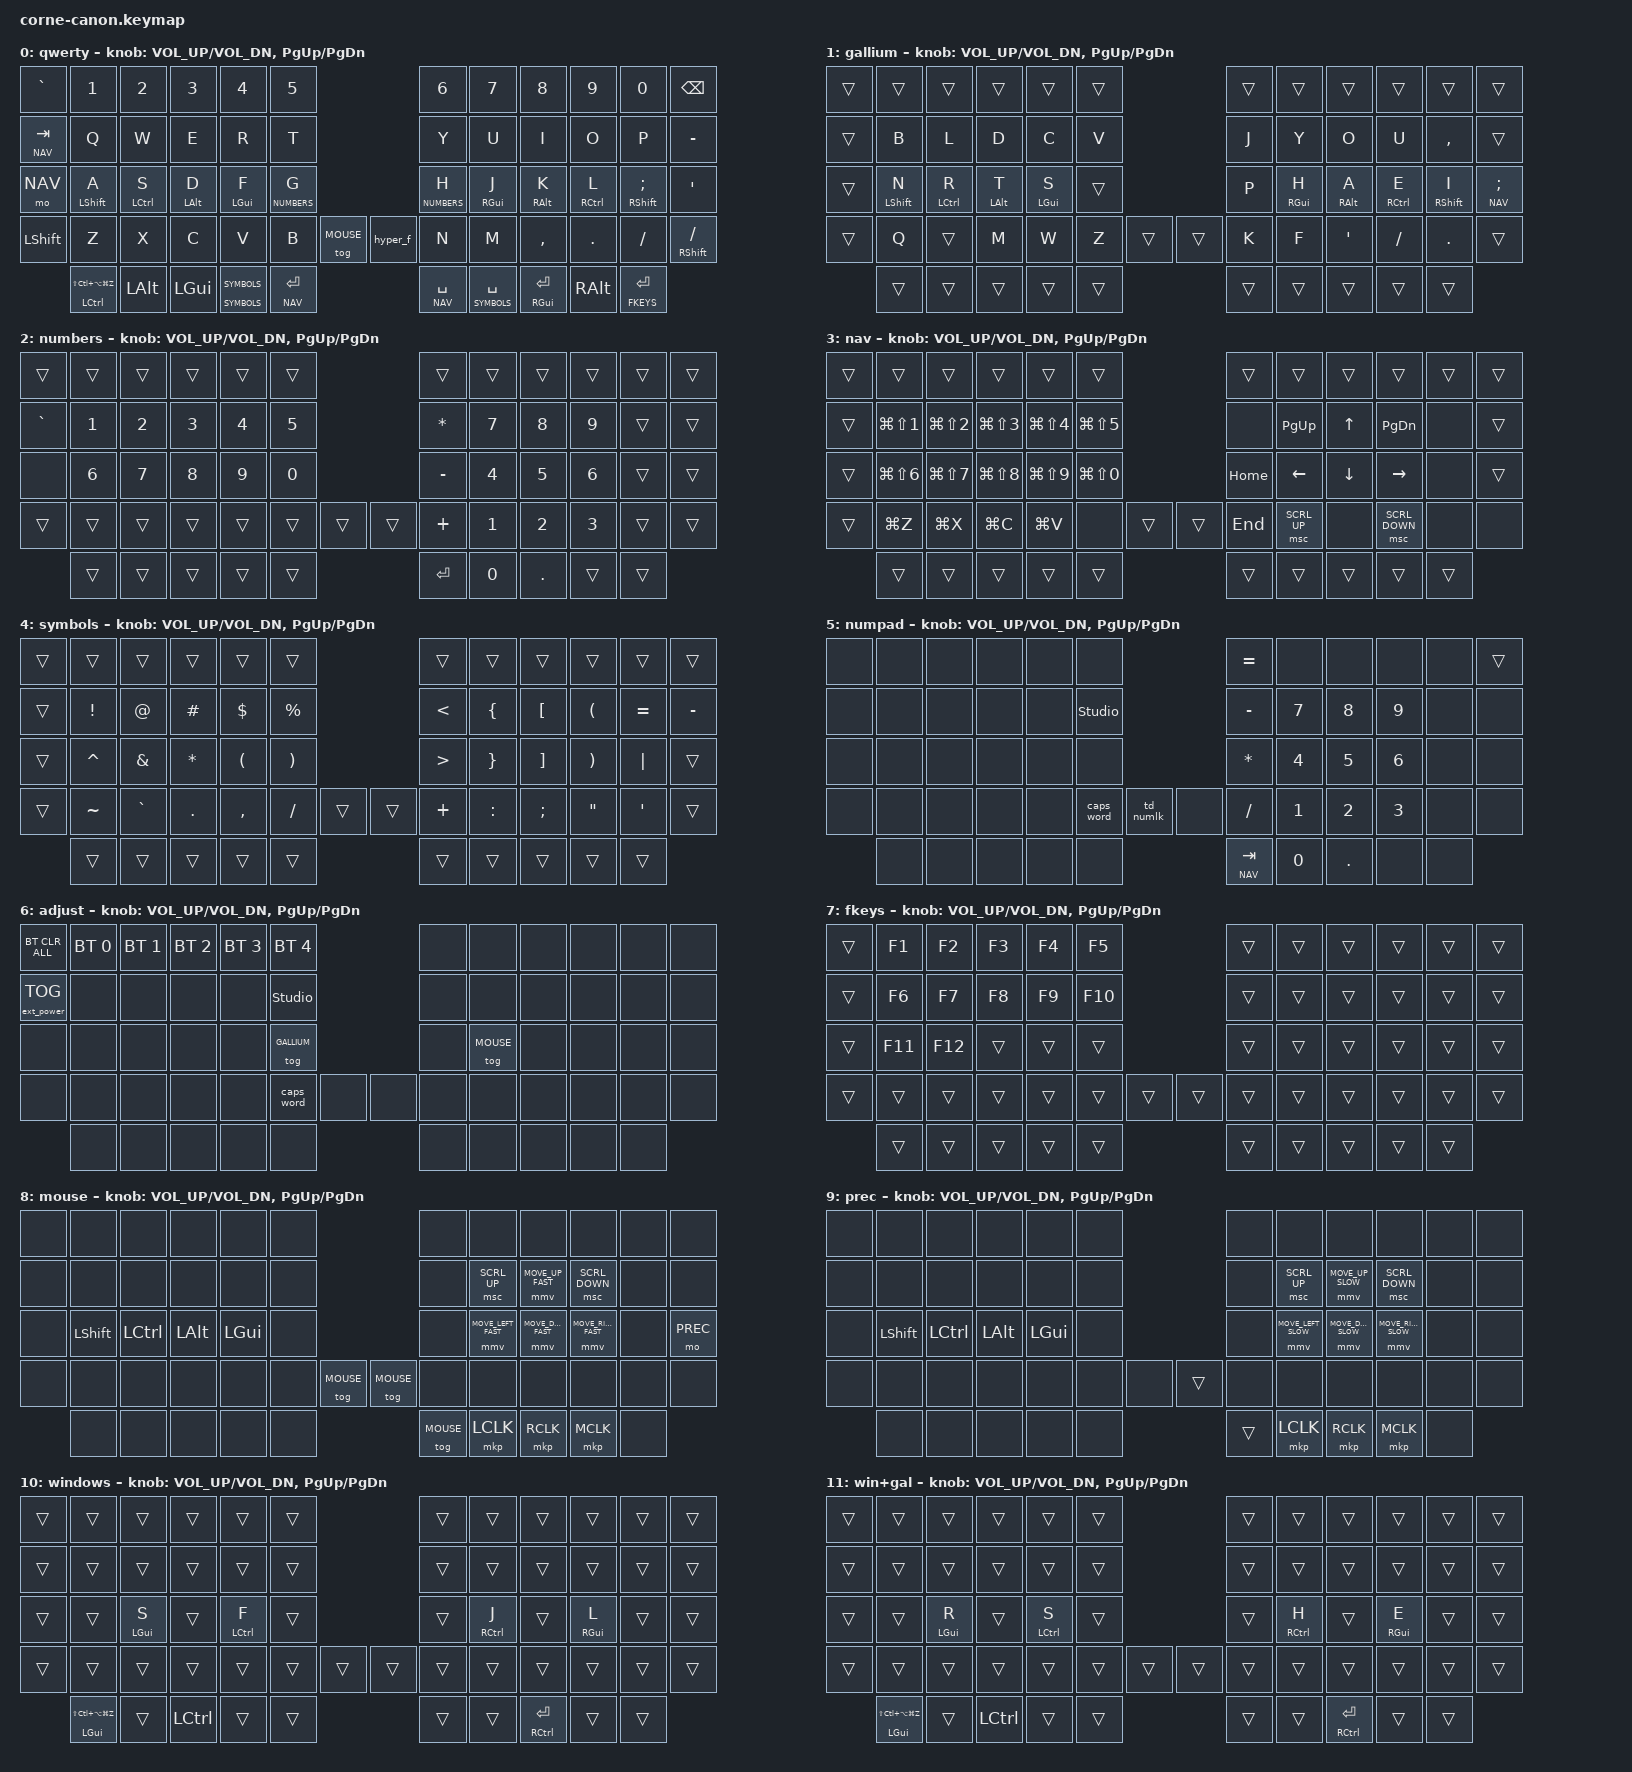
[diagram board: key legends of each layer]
/*
 * Corne-Canon Profile — SOFLE 60-key
 *
 * CORNE (42-key) canonical layout adapted to SOFLE (60-key).
 * Core 42 keys are identical; 18 extra keys (number row, outer thumbs,
 * encoders) are filled intelligently.
 *
 * Layers:
 *   0 = QWERTY base (CORNE layer 0 + extras)
 *   1 = Gallium v1 toggle overlay (CORNE layer 1)
 *   2 = Numbers (CORNE layer 2 — kept for muscle memory despite number row)
 *   3 = Nav (CORNE layer 3 — screenshots, arrows, undo/cut/copy/paste)
 *   4 = Symbols (CORNE layer 4 — full symbols)
 *   5 = Numpad (CORNE layer 5 — right-side numpad)
 *   6 = Adjust (NEW — BT, ext power, layout toggles; conditional NAV+SYMBOLS)
 *   7 = Fkeys (F1-F12)
 *   8 = Mouse (mouse movement on right OHAE cluster)
 *   9 = Prec (precision mouse — 1/4 speed)
 *
 * Position mapping (CORNE → SOFLE):
 *   CORNE Row 0 (0-11)  → SOFLE Row 1 (12-23)
 *   CORNE Row 1 (12-23) → SOFLE Row 2 (24-35)
 *   CORNE Row 2 (24-35) → SOFLE Row 3 (36-41, 44-49) [42,43 = encoders]
 *   CORNE Thumbs (36-41) → SOFLE inner thumbs (52-54, 55-57)
 *   NEW: SOFLE Row 0 (0-11), outer thumbs (50-51, 58-59)
 */

#include <behaviors.dtsi>
#include <dt-bindings/zmk/bt.h>
#include <dt-bindings/zmk/ext_power.h>
#include <dt-bindings/zmk/keys.h>
#define ZMK_POINTING_DEFAULT_SCRL_VAL 25
#include <dt-bindings/zmk/pointing.h>
#include "corne-canon-chords.dtsi"

#define QWERTY  0
#define GALLIUM 1
#define NUMBERS 2
#define NAV     3
#define SYMBOLS 4
#define NUMPAD  5
#define ADJUST  6
#define FKEYS   7
#define MOUSE   8
#define PREC    9
#define WINMODE         10
#define WINMODE_GALLIUM 11

// Fast mouse movement (2x default 600 speed)
#define MOVE_UP_FAST    ((-9000) & 0xFFFF)
#define MOVE_DOWN_FAST  ((9000) & 0xFFFF)
#define MOVE_LEFT_FAST  (((-9000) & 0xFFFF) << 16)
#define MOVE_RIGHT_FAST (((9000) & 0xFFFF) << 16)

// Precision mouse movement (1/4 of default 600 speed)
#define MOVE_UP_SLOW    ((-200) & 0xFFFF)
#define MOVE_DOWN_SLOW  ((200) & 0xFFFF)
#define MOVE_LEFT_SLOW  (((-200) & 0xFFFF) << 16)
#define MOVE_RIGHT_SLOW (((200) & 0xFFFF) << 16)

/ {
    // Activate ADJUST layer by pressing NAV and SYMBOLS together
    conditional_layers {
        compatible = "zmk,conditional-layers";

        adjust_layer {
            if-layers = <NAV SYMBOLS>;
            then-layer = <ADJUST>;
        };

        // When both Gallium and Windows mode are active, use Gallium letters with Win modifiers
        winmode_gallium_layer {
            if-layers = <GALLIUM WINMODE>;
            then-layer = <WINMODE_GALLIUM>;
        };
    };

    combos {
        compatible = "zmk,combos";

        // ── Utility combos (always active) ──────────────────────────
        backspace {
            bindings = <&kp BACKSPACE>;
            key-positions = <32 31>;
        };

        delete {
            bindings = <&kp DELETE>;
            key-positions = <27 33>;
        };

        esc {
            bindings = <&kp ESCAPE>;
            key-positions = <25 41>;
        };

        esc2 {
            bindings = <&kp ESCAPE>;
            key-positions = <0 12>;
        };

        fwd_delete {
            bindings = <&kp DELETE>;
            key-positions = <28 27>;
        };

        shift_caps {
            bindings = <&td_caps>;
            key-positions = <36 49>;
        };

        esc3 {
            bindings = <&kp ESCAPE>;
            key-positions = <0 1>;
        };

        thumb_fatfinger {
            bindings = <&kp SPACE>;
            key-positions = <54 55>;
        };

        thumb_fatfinger_left {
            bindings = <&kp SPACE>;
            key-positions = <52 53>;
        };

        thumb_fatfinger_right {
            bindings = <&kp SPACE>;
            key-positions = <56 57>;
        };

        mouse_toggle {
            bindings = <&tog MOUSE>;
            key-positions = <5 17>;
        };

        // Layout toggle: bottom-right corner keys (,./Sft)
        layout_toggle {
            bindings = <&tog GALLIUM>;
            key-positions = <46 47 48 49>;
        };

        // Numbers toggle: G+H positions
        numbers_toggle {
            bindings = <&tog NUMBERS>;
            key-positions = <29 30>;
        };

        // Windows/Mac modifier swap: far-left 4 keys (Sft+Z+X+C)
        winmode_toggle {
            bindings = <&tog WINMODE>;
            key-positions = <36 37 38 39>;
        };
    };

    macros {
        hyper: hyper {
            compatible = "zmk,behavior-macro";
            #binding-cells = <0>;
            bindings
                = <&macro_press &kp LSHFT &kp LCTRL &kp LALT &kp LGUI>
                , <&macro_pause_for_release>
                , <&macro_release &kp LSHFT &kp LCTRL &kp LALT &kp LGUI>
                ;
        };

        hyper_space: hyper_space {
            compatible = "zmk,behavior-macro";
            #binding-cells = <0>;
            bindings
                = <&macro_press &kp LSHFT &kp LCTRL &kp LALT &kp LGUI>
                , <&macro_tap &kp SPACE>
                , <&macro_release &kp LSHFT &kp LCTRL &kp LALT &kp LGUI>
                ;
        };

        hyper_f: hyper_f {
            compatible = "zmk,behavior-macro";
            #binding-cells = <0>;
            bindings
                = <&macro_press &kp LSHFT &kp LCTRL &kp LALT &kp LGUI>
                , <&macro_tap &kp F>
                , <&macro_release &kp LSHFT &kp LCTRL &kp LALT &kp LGUI>
                ;
        };

        meh_f: meh_f {
            compatible = "zmk,behavior-macro";
            #binding-cells = <0>;
            bindings
                = <&macro_press &kp RSHFT &kp RCTRL &kp RALT>
                , <&macro_tap &kp F>
                , <&macro_release &kp RSHFT &kp RCTRL &kp RALT>
                ;
        };
    };

    behaviors {
        /* Fast mouse: 100ms ramp to 9000 max — normal press feels coarse/snappy.
         * Precision layer (max 200) stays fine naturally — low ceiling limits movement
         * regardless of shared ramp. Quick tap on prec ≈ sub-pixel; hold builds slowly. */
        mmv {
            time-to-max-speed-ms = <100>;
            acceleration-exponent = <1>;
        };

        /* Scroll: moderate acceleration */
        msc {
            time-to-max-speed-ms = <150>;
            acceleration-exponent = <1>;
        };

        caps: caps {
            compatible = "zmk,behavior-caps-word";
            label = "CAPS";
            #binding-cells = <0>;
            continue-list = <POUND MINUS BACKSPACE UNDERSCORE>;
        };

        hml: home_row_mod_left {
            compatible = "zmk,behavior-hold-tap";
            #binding-cells = <2>;
            flavor = "balanced";
            tapping-term-ms = <280>;
            quick-tap-ms = <175>;
            require-prior-idle-ms = <150>;
            bindings = <&kp>, <&kp>;
            hold-trigger-key-positions = <6 7 8 9 10 11 18 19 20 21 22 23 30 31 32 33 34 35 43 44 45 46 47 48 49 50 51 52 53 54 55 56 57 58 59>;
            hold-trigger-on-release;
        };

        hmr: home_row_mod_right {
            compatible = "zmk,behavior-hold-tap";
            #binding-cells = <2>;
            flavor = "balanced";
            tapping-term-ms = <280>;
            quick-tap-ms = <175>;
            require-prior-idle-ms = <150>;
            bindings = <&kp>, <&kp>;
            hold-trigger-key-positions = <0 1 2 3 4 5 12 13 14 15 16 17 24 25 26 27 28 29 36 37 38 39 40 41 42 50 51 52 53 54 55 56 57 58 59>;
            hold-trigger-on-release;
        };

        lts: layer_tap_smart {
            compatible = "zmk,behavior-hold-tap";
            #binding-cells = <2>;
            flavor = "balanced";
            tapping-term-ms = <280>;
            quick-tap-ms = <175>;
            require-prior-idle-ms = <150>;
            bindings = <&mo>, <&kp>;
        };

        htk: hold_tap_kp {
            compatible = "zmk,behavior-hold-tap";
            #binding-cells = <2>;
            flavor = "balanced";
            tapping-term-ms = <200>;
            quick-tap-ms = <175>;
            bindings = <&kp>, <&kp>;
        };

        hts: hold_tap_shift {
            compatible = "zmk,behavior-hold-tap";
            #binding-cells = <2>;
            flavor = "balanced";
            tapping-term-ms = <200>;
            quick-tap-ms = <175>;
            bindings = <&mo>, <&sl>;
        };

        td_caps: tap_dance_caps {
            compatible = "zmk,behavior-tap-dance";
            #binding-cells = <0>;
            tapping-term-ms = <200>;
            bindings = <&caps>, <&kp CLCK>;
        };

        td_cmd: tap_dance_cmd {
            compatible = "zmk,behavior-tap-dance";
            #binding-cells = <0>;
            tapping-term-ms = <200>;
            bindings = <&kp RGUI>, <&hyper_space>;
        };

        td_enc_l: tap_dance_enc_left {
            compatible = "zmk,behavior-tap-dance";
            #binding-cells = <0>;
            tapping-term-ms = <200>;
            bindings = <&none>, <&hyper_f>;
        };

        td_enc_r: tap_dance_enc_right {
            compatible = "zmk,behavior-tap-dance";
            #binding-cells = <0>;
            tapping-term-ms = <200>;
            bindings = <&none>, <&meh_f>;
        };

        td_numlk: tap_dance_numlk {
            compatible = "zmk,behavior-tap-dance";
            #binding-cells = <0>;
            tapping-term-ms = <200>;
            bindings = <&mo NUMPAD>, <&tog NUMPAD>;
        };

    };

    keymap {
        compatible = "zmk,keymap";

        // ┌──────────────────────────────────────────────────────────────────────┐
        // │ Layer 0 — QWERTY with SCAG home row mods (CORNE canonical)          │
        // ├──────────────────────────────────────────────────────────────────────┤
        // │ Row 0 (NEW):  `   1  2  3  4  5        6  7  8  9  0  Bspc         │
        // │ Row 1 (=CORNE 0): Tab/Nav Q W E R T    Y U I O P  -                 │
        // │ Row 2 (=CORNE 1): Nav A  S  D  F  G    H  J  K  L  ;  '            │
        // │                       Sf Ct Op Cm NUM   NUM Cm Op Ct Sf             │
        // │ Row 3 (=CORNE 2): Sft Z  X  C  V  B [tog mouse][hyper] N M , . / Sft// │
        // │ Thumb: Ctrl Alt Cmd Sym-OSL Nav/En   Nav/Sp Sym/Sp Gui/En Alt Fk/En │
        // └──────────────────────────────────────────────────────────────────────┘

        qwerty_layer {
            display-name = "qwerty";

            bindings = <
&kp GRAVE      &kp N1          &kp N2          &kp N3          &kp N4          &kp N5                                          &kp N6              &kp N7          &kp N8          &kp N9          &kp N0              &kp BSPC
&lts NAV TAB   &kp Q           &kp W           &kp E           &kp R           &kp T                                           &kp Y               &kp U           &kp I           &kp O           &kp P               &kp MINUS
&mo NAV        &hml LSHFT A    &hml LCTRL S    &hml LALT D     &hml LGUI F     &lts NUMBERS G                                  &lts NUMBERS H      &hmr RGUI J     &hmr RALT K     &hmr RCTRL L    &hmr RSHFT SEMI     &kp SQT
&kp LSHFT      &kp Z           &kp X           &kp C           &kp V           &kp B           &tog MOUSE      &hyper_f        &kp N               &kp M           &kp COMMA       &kp DOT         &kp FSLH            &mt RSHFT FSLH
               &htk LCTRL LS(LC(LA(LG(Z))))  &kp LALT  &kp LGUI  &hts SYMBOLS SYMBOLS  &lts NAV ENTER                           &lts NAV SPACE      &lts SYMBOLS SPACE  &htk RGUI ENTER  &kp RALT     &lts FKEYS ENTER
            >;

            sensor-bindings = <&inc_dec_kp C_VOL_UP C_VOL_DN &inc_dec_kp PG_UP PG_DN>;
        };

        // ┌──────────────────────────────────────────────────────────────────────┐
        // │ Layer 1 — Gallium v1 (toggle overlay, CORNE canonical)              │
        // ├──────────────────────────────────────────────────────────────────────┤
        // │ Alpha keys match CORNE Gallium v1 exactly (Q X, not X Q like v2)    │
        // │ All other keys transparent (inherit from QWERTY base)               │
        // └──────────────────────────────────────────────────────────────────────┘

        gallium_layer {
            display-name = "gallium";

            bindings = <
&trans         &trans          &trans          &trans          &trans          &trans                                          &trans              &trans          &trans          &trans          &trans              &trans
&trans         &kp B           &kp L           &kp D           &kp C           &kp V                                           &kp J               &kp Y           &kp O           &kp U           &kp COMMA           &trans
&trans         &hml LSHFT N    &hml LCTRL R    &hml LALT T     &hml LGUI S     &trans                                          &kp P               &hmr RGUI H     &hmr RALT A     &hmr RCTRL E    &hmr RSHFT I        &lts NAV SEMI
&trans         &kp Q           &trans          &kp M           &kp W           &kp Z           &trans          &trans          &kp K               &kp F           &kp SQT         &kp FSLH        &kp DOT             &trans
               &trans          &trans          &trans          &trans          &trans                                          &trans              &trans          &trans          &trans          &trans
            >;

            sensor-bindings = <&inc_dec_kp C_VOL_UP C_VOL_DN &inc_dec_kp PG_UP PG_DN>;
        };

        // ┌──────────────────────────────────────────────────────────────────────┐
        // │ Layer 2 — Numbers (CORNE canonical, kept for muscle memory)          │
        // ├──────────────────────────────────────────────────────────────────────┤
        // │ Left: ` 1-5 top, 6-0 home                                          │
        // │ Right: numpad-style 7-8-9 / 4-5-6 / 1-2-3 with operators           │
        // └──────────────────────────────────────────────────────────────────────┘

        numbers_layer {
            display-name = "numbers";

            bindings = <
&trans         &trans          &trans          &trans          &trans          &trans                                          &trans              &trans          &trans          &trans          &trans              &trans
&kp GRAVE      &kp N1          &kp N2          &kp N3          &kp N4          &kp N5                                          &kp ASTRK           &kp N7          &kp N8          &kp N9          &trans              &trans
&none          &kp N6          &kp N7          &kp N8          &kp N9          &kp N0                                          &kp MINUS           &kp N4          &kp N5          &kp N6          &trans              &trans
&trans         &trans          &trans          &trans          &trans          &trans          &trans          &trans          &kp PLUS            &kp N1          &kp N2          &kp N3          &trans              &trans
               &trans          &trans          &trans          &trans          &trans                                          &kp ENTER           &kp N0          &kp DOT         &trans          &trans
            >;

            sensor-bindings = <&inc_dec_kp C_VOL_UP C_VOL_DN &inc_dec_kp PG_UP PG_DN>;
        };

        // ┌──────────────────────────────────────────────────────────────────────┐
        // │ Layer 3 — Navigation (CORNE canonical)                              │
        // ├──────────────────────────────────────────────────────────────────────┤
        // │ Left: Cmd+Shift screenshot shortcuts (1-5 top, 6-0 home)            │
        // │       Undo/Cut/Copy/Paste bottom                                    │
        // │ Right: Arrows, Home/End, PgUp/PgDn, scroll wheel                   │
        // └──────────────────────────────────────────────────────────────────────┘

        nav_layer {
            display-name = "nav";

            bindings = <
&trans         &trans              &trans              &trans              &trans              &trans                                          &trans          &trans          &trans          &trans          &trans          &trans
&trans         &kp LG(LS(N1))     &kp LG(LS(N2))     &kp LG(LS(N3))     &kp LG(LS(N4))     &kp LG(LS(N5))                                  &none           &kp PG_UP       &kp UP          &kp PG_DN       &none           &trans
&trans         &kp LG(LS(N6))     &kp LG(LS(N7))     &kp LG(LS(N8))     &kp LG(LS(N9))     &kp LG(LS(N0))                                  &kp HOME        &kp LEFT        &kp DOWN        &kp RIGHT       &none           &trans
&trans         &kp LG(Z)          &kp LG(X)          &kp LG(C)          &kp LG(V)          &none           &trans          &trans          &kp END         &msc SCRL_UP    &none           &msc SCRL_DOWN  &none           &none
               &trans              &trans              &trans              &trans              &trans                                          &trans          &trans          &trans          &trans          &trans
            >;

            sensor-bindings = <&inc_dec_kp C_VOL_UP C_VOL_DN &inc_dec_kp PG_UP PG_DN>;
        };

        // ┌──────────────────────────────────────────────────────────────────────┐
        // │ Layer 4 — Symbols (CORNE canonical)                                 │
        // ├──────────────────────────────────────────────────────────────────────┤
        // │ Left: ! @ # $ % top, ^ & * ( ) home, ~ ` . , / bottom              │
        // │ Right: < { [ ( brackets, > } ] ) closers, operators                 │
        // └──────────────────────────────────────────────────────────────────────┘

        symbols_layer {
            display-name = "symbols";

            bindings = <
&trans         &trans          &trans          &trans          &trans          &trans                                          &trans              &trans          &trans          &trans          &trans              &trans
&trans         &kp EXCL        &kp AT          &kp HASH        &kp DLLR        &kp PRCNT                                       &kp LT              &kp LBRC        &kp LBKT        &kp LPAR        &kp EQUAL           &kp MINUS
&trans         &kp CARET       &kp AMPS        &kp ASTRK       &kp LPAR        &kp RPAR                                        &kp GT              &kp RBRC        &kp RBKT        &kp RPAR        &kp PIPE            &trans
&trans         &kp TILDE       &kp GRAVE       &kp DOT         &kp COMMA       &kp FSLH        &trans          &trans          &kp PLUS            &kp COLON       &kp SEMI        &kp DQT         &kp SQT             &trans
               &trans          &trans          &trans          &trans          &trans                                          &trans              &trans          &trans          &trans          &trans
            >;

            sensor-bindings = <&inc_dec_kp C_VOL_UP C_VOL_DN &inc_dec_kp PG_UP PG_DN>;
        };

        // ┌──────────────────────────────────────────────────────────────────────┐
        // │ Layer 5 — Numpad (right-side numpad, matching existing SOFLE)        │
        // └──────────────────────────────────────────────────────────────────────┘

        numpad_layer {
            display-name = "numpad";

            bindings = <
&none          &none           &none           &none           &none           &none                                           &kp EQUAL           &none           &none           &none           &none               &trans
&none          &none           &none           &none           &none           &studio_unlock                                  &kp MINUS           &kp N7          &kp N8          &kp N9          &none               &none
&none          &none           &none           &none           &none           &none                                           &kp ASTRK           &kp N4          &kp N5          &kp N6          &none               &none
&none          &none           &none           &none           &none           &caps_word      &td_numlk       &none           &kp FSLH            &kp N1          &kp N2          &kp N3          &none               &none
               &none           &none           &none           &none           &none                                           &lts NAV TAB        &kp N0          &kp DOT         &none           &none
            >;

            sensor-bindings = <&inc_dec_kp C_VOL_UP C_VOL_DN &inc_dec_kp PG_UP PG_DN>;
        };

        // ┌──────────────────────────────────────────────────────────────────────┐
        // │ Layer 6 — Adjust (conditional: NAV + SYMBOLS)                       │
        // ├──────────────────────────────────────────────────────────────────────┤
        // │ BT profiles, ext power, layout toggles                              │
        // └──────────────────────────────────────────────────────────────────────┘

        adjust_layer {
            display-name = "adjust";

            bindings = <
&bt BT_CLR_ALL &bt BT_SEL 0    &bt BT_SEL 1    &bt BT_SEL 2    &bt BT_SEL 3    &bt BT_SEL 4                                    &none               &none           &none           &none           &none               &none
&ext_power EP_TOG &none        &none           &none           &none           &studio_unlock                                  &none               &none           &none           &none           &none               &none
&none          &none           &none           &none           &none           &tog GALLIUM                                    &none               &tog MOUSE      &none           &none           &none               &none
&none          &none           &none           &none           &none           &caps_word      &none           &none           &none               &none           &none           &none           &none               &none
               &none           &none           &none           &none           &none                                           &none               &none           &none           &none           &none
            >;

            sensor-bindings = <&inc_dec_kp C_VOL_UP C_VOL_DN &inc_dec_kp PG_UP PG_DN>;
        };

        // ┌──────────────────────────────────────────────────────────────────────┐
        // │ Layer 7 — F-keys                                                    │
        // └──────────────────────────────────────────────────────────────────────┘

        fkeys_layer {
            display-name = "fkeys";

            bindings = <
&trans         &kp F1          &kp F2          &kp F3          &kp F4          &kp F5                                          &trans              &trans          &trans          &trans          &trans              &trans
&trans         &kp F6          &kp F7          &kp F8          &kp F9          &kp F10                                         &trans              &trans          &trans          &trans          &trans              &trans
&trans         &kp F11         &kp F12         &trans          &trans          &trans                                          &trans              &trans          &trans          &trans          &trans              &trans
&trans         &trans          &trans          &trans          &trans          &trans          &trans          &trans          &trans              &trans          &trans          &trans          &trans              &trans
               &trans          &trans          &trans          &trans          &trans                                          &trans              &trans          &trans          &trans          &trans
            >;

            sensor-bindings = <&inc_dec_kp C_VOL_UP C_VOL_DN &inc_dec_kp PG_UP PG_DN>;
        };

        // ┌──────────────────────────────────────────────────────────────────────┐
        // │ Layer 8 — Mouse (right-side OHAE cluster)                           │
        // ├──────────────────────────────────────────────────────────────────────┤
        // │ Upper:  scrUp  ↑   scrDn                                            │
        // │ Home:   ←      ↓   →       prec (pinky hold)                        │
        // │ Thumb:  exit   Lclk Rclk Mclk                                       │
        // └──────────────────────────────────────────────────────────────────────┘

        mouse_layer {
            display-name = "mouse";

            bindings = <
&none          &none           &none           &none           &none           &none                                           &none               &none               &none                &none                &none          &none
&none          &none           &none           &none           &none           &none                                           &none               &msc SCRL_UP        &mmv MOVE_UP_FAST    &msc SCRL_DOWN       &none          &none
&none          &kp LSHFT       &kp LCTRL       &kp LALT        &kp LGUI        &none                                           &none               &mmv MOVE_LEFT_FAST &mmv MOVE_DOWN_FAST  &mmv MOVE_RIGHT_FAST &none          &mo PREC
&none          &none           &none           &none           &none           &none           &tog MOUSE      &tog MOUSE      &none               &none               &none                &none                &none          &none
               &none           &none           &none           &none           &none                                           &tog MOUSE          &mkp LCLK           &mkp RCLK            &mkp MCLK            &none
            >;

            sensor-bindings = <&inc_dec_kp C_VOL_UP C_VOL_DN &inc_dec_kp PG_UP PG_DN>;
        };

        // ┌──────────────────────────────────────────────────────────────────────┐
        // │ Layer 9 — Precision mouse (1/4 speed, hold pinky from mouse layer)  │
        // └──────────────────────────────────────────────────────────────────────┘

        prec_layer {
            display-name = "prec";

            bindings = <
&none          &none           &none           &none           &none           &none                                           &none               &none                &none                &none                &none          &none
&none          &none           &none           &none           &none           &none                                           &none               &msc SCRL_UP              &mmv MOVE_UP_SLOW    &msc SCRL_DOWN            &none          &none
&none          &kp LSHFT       &kp LCTRL       &kp LALT        &kp LGUI        &none                                           &none               &mmv MOVE_LEFT_SLOW  &mmv MOVE_DOWN_SLOW  &mmv MOVE_RIGHT_SLOW &none          &none
&none          &none           &none           &none           &none           &none           &none           &trans          &none               &none                &none                &none                &none          &none
               &none           &none           &none           &none           &none                                           &trans              &mkp LCLK            &mkp RCLK            &mkp MCLK            &none
            >;

            sensor-bindings = <&inc_dec_kp C_VOL_UP C_VOL_DN &inc_dec_kp PG_UP PG_DN>;
        };

        // ┌──────────────────────────────────────────────────────────────────────┐
        // │ Layer 10 — Windows mode (Ctrl ↔ Cmd/Win swap)                       │
        // ├──────────────────────────────────────────────────────────────────────┤
        // │ Toggle: far-left 4 keys (Sft+Z+X+C)                                 │
        // │ Swaps: S/F home row mods + J/L home row mods + outer thumbs         │
        // │   Mac:  A/Sft  S/Ctl  D/Opt  F/Cmd   J/Cmd  K/Opt  L/Ctl  ;/Sft   │
        // │   Win:  A/Sft  S/Win  D/Opt  F/Ctl   J/Ctl  K/Opt  L/Win  ;/Sft   │
        // └──────────────────────────────────────────────────────────────────────┘

        winmode_layer {
            display-name = "windows";

            bindings = <
&trans         &trans          &trans          &trans          &trans          &trans                                          &trans              &trans          &trans          &trans          &trans              &trans
&trans         &trans          &trans          &trans          &trans          &trans                                          &trans              &trans          &trans          &trans          &trans              &trans
&trans         &trans          &hml LGUI S     &trans          &hml LCTRL F    &trans                                          &trans              &hmr RCTRL J    &trans          &hmr RGUI L     &trans              &trans
&trans         &trans          &trans          &trans          &trans          &trans          &trans          &trans          &trans              &trans          &trans          &trans          &trans              &trans
               &htk LGUI LS(LC(LA(LG(Z))))  &trans  &kp LCTRL  &trans          &trans                                        &trans              &trans          &htk RCTRL ENTER  &trans        &trans
            >;

            sensor-bindings = <&inc_dec_kp C_VOL_UP C_VOL_DN &inc_dec_kp PG_UP PG_DN>;
        };

        // ┌──────────────────────────────────────────────────────────────────────┐
        // │ Layer 11 — Windows mode + Gallium (conditional: GALLIUM + WINMODE)  │
        // ├──────────────────────────────────────────────────────────────────────┤
        // │ Gallium letters with Ctrl↔Cmd/Win swapped — auto-activates when     │
        // │ both Gallium (1) and Windows mode (10) are toggled on               │
        // └──────────────────────────────────────────────────────────────────────┘

        winmode_gallium_layer {
            display-name = "win+gal";

            bindings = <
&trans         &trans          &trans          &trans          &trans          &trans                                          &trans              &trans          &trans          &trans          &trans              &trans
&trans         &trans          &trans          &trans          &trans          &trans                                          &trans              &trans          &trans          &trans          &trans              &trans
&trans         &trans          &hml LGUI R     &trans          &hml LCTRL S    &trans                                          &trans              &hmr RCTRL H    &trans          &hmr RGUI E     &trans              &trans
&trans         &trans          &trans          &trans          &trans          &trans          &trans          &trans          &trans              &trans          &trans          &trans          &trans              &trans
               &htk LGUI LS(LC(LA(LG(Z))))  &trans  &kp LCTRL  &trans          &trans                                        &trans              &trans          &htk RCTRL ENTER  &trans        &trans
            >;

            sensor-bindings = <&inc_dec_kp C_VOL_UP C_VOL_DN &inc_dec_kp PG_UP PG_DN>;
        };
    };
};
